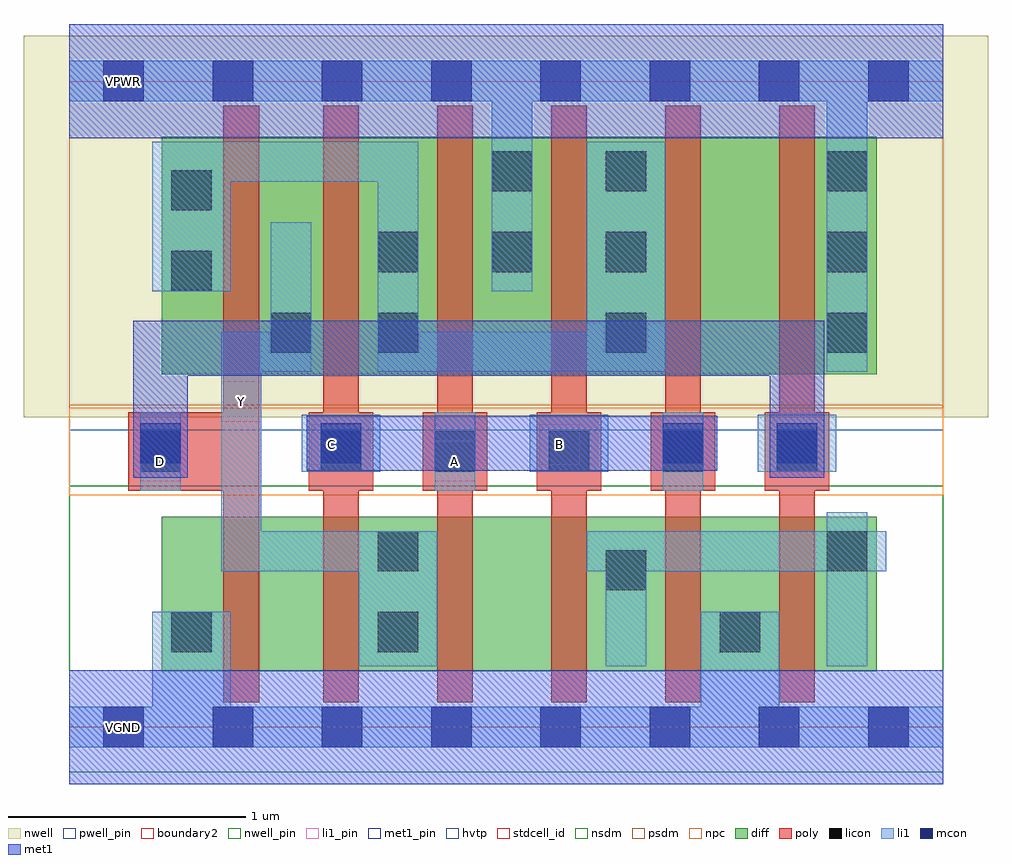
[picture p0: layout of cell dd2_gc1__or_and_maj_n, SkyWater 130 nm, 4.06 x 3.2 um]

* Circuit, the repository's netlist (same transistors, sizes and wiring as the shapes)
.subckt dd2_gc1__or_and_maj_n A B C D VGND VNB VPB VPWR Y
X0 Y C n1 VNB sky130_fd_pr__nfet_01v8 w=0.65 l=0.15
X1 n1 D VGND VNB sky130_fd_pr__nfet_01v8 w=0.65 l=0.15
X2 Y A n2 VNB sky130_fd_pr__nfet_01v8 w=0.65 l=0.15
X3 n2 B n3 VNB sky130_fd_pr__nfet_01v8 w=0.65 l=0.15
X4 n3 C VGND VNB sky130_fd_pr__nfet_01v8 w=0.65 l=0.15
X5 n3 D VGND VNB sky130_fd_pr__nfet_01v8 w=0.65 l=0.15
X6 Y C p1 VPB sky130_fd_pr__pfet_01v8_hvt w=1 l=0.15
X7 Y D p1 VPB sky130_fd_pr__pfet_01v8_hvt w=1 l=0.15
X8 p1 A VPWR VPB sky130_fd_pr__pfet_01v8_hvt w=1 l=0.15
X9 p1 B VPWR VPB sky130_fd_pr__pfet_01v8_hvt w=1 l=0.15
X10 p1 C p2 VPB sky130_fd_pr__pfet_01v8_hvt w=1 l=0.15
X11 p2 D VPWR VPB sky130_fd_pr__pfet_01v8_hvt w=1 l=0.15
.ends

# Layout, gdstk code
import gdstk
lib = gdstk.Library(unit=1e-6, precision=1e-09)
def R(c, l, rs):  # rectangles x0, y0, x1, y1
    for r in rs: c.add(gdstk.rectangle(r[:2], r[2:], *l))
def A(c, l, x, y, w, h, nx, ny, dx, dy):  # array of equal rectangles
    R(c, l, [(x+i*dx, y+j*dy, x+i*dx+w, y+j*dy+h) for i in range(nx) for j in range(ny)])
nwell_pin = (64, 16)
nwell = (64, 20)
diff = (65, 20)
poly = (66, 20)
licon = (66, 44)
li1_pin = (67, 16)
li1 = (67, 20)
mcon = (67, 44)
met1_pin = (68, 16)
met1 = (68, 20)
hvtp = (78, 44)
stdcell_id = (81, 4)
nsdm = (93, 44)
psdm = (94, 20)
npc = (95, 20)
pwell_pin = (122, 16)
boundary2 = (236, 0)

dd2_gc1__or_and_maj_n = lib.new_cell('dd2_gc1__or_and_maj_n')
R(dd2_gc1__or_and_maj_n, nwell_pin, [(0.145,2.635,0.315,2.805)])
R(dd2_gc1__or_and_maj_n, nwell, [(-0.19,1.305,3.87,2.91)])
R(dd2_gc1__or_and_maj_n, diff, [(0.39,0.235,3.4,0.885), (0.39,1.485,3.4,2.485)])
A(dd2_gc1__or_and_maj_n, poly, 1.07, 0.105, 0.15, 2.51, 5, 1, 0.48, 0)
A(dd2_gc1__or_and_maj_n, poly, 1.01, 0.995, 0.27, 0.33, 5, 1, 0.48, 0)
R(dd2_gc1__or_and_maj_n, poly, [(0.65,0.105,0.8,2.615), (0.25,0.995,0.8,1.325)])
A(dd2_gc1__or_and_maj_n, licon, 1.06, 1.075, 0.17, 0.17, 5, 1, 0.48, 0)
A(dd2_gc1__or_and_maj_n, licon, 3.19, 1.575, 0.17, 0.17, 1, 3, 0, 0.34)
A(dd2_gc1__or_and_maj_n, licon, 1.3, 1.915, 0.17, 0.17, 3, 1, 0.48, 0)
R(dd2_gc1__or_and_maj_n, licon, [(0.43,0.315,0.6,0.485), (1.3,0.315,1.47,0.485), (2.74,0.315,2.91,0.485), (2.26,0.575,2.43,0.745), (1.3,0.655,1.47,0.825), (3.19,0.655,3.36,0.825), (0.3,1.075,0.47,1.245), (0.85,1.575,1.02,1.745), (1.3,1.575,1.47,1.745), (2.26,1.575,2.43,1.745), (0.43,1.835,0.6,2.005), (0.43,2.175,0.6,2.345), (1.78,2.255,1.95,2.425), (2.26,2.255,2.43,2.425)])
R(dd2_gc1__or_and_maj_n, li1_pin, [(0.3,1.035,0.47,1.205), (1.54,1.035,1.71,1.205), (1.02,1.105,1.19,1.275), (1.98,1.105,2.15,1.275), (0.64,1.285,0.81,1.455)])
A(dd2_gc1__or_and_maj_n, li1, 0.98, 1.075, 0.33, 0.24, 3, 1, 0.96, 0)
R(dd2_gc1__or_and_maj_n, li1, [(0,-0.085,3.68,0.085), (0.35,-0.085,0.68,0.485), (2.66,-0.085,2.99,0.485), (1.22,0.255,1.55,0.825), (2.26,0.255,2.43,0.825), (3.19,0.255,3.36,0.905), (0.64,0.655,1.55,0.825), (2.18,0.655,3.44,0.825), (0.64,0.815,0.81,1.505), (0.3,0.995,0.47,1.325), (1.54,0.995,1.71,1.325), (2.5,0.995,2.67,1.325), (0.64,1.495,1.02,1.665), (0.85,1.495,1.02,2.125), (1.3,1.495,1.47,2.465), (1.3,1.495,2.51,1.665), (2.18,1.495,2.51,2.465), (3.19,1.495,3.36,2.805), (0.35,1.835,0.68,2.465), (1.78,1.835,1.95,2.805), (0.43,2.295,1.47,2.465), (0,2.635,3.68,2.805)])
A(dd2_gc1__or_and_maj_n, mcon, 0.145, -0.085, 0.17, 0.17, 8, 2, 0.46, 2.72)
R(dd2_gc1__or_and_maj_n, mcon, [(0.3,1.11,0.47,1.28), (1.06,1.11,1.23,1.28), (2.5,1.11,2.67,1.28), (2.98,1.11,3.15,1.28)])
R(dd2_gc1__or_and_maj_n, met1_pin, [(0.145,-0.085,0.315,0.085), (0.145,2.635,0.315,2.805)])
R(dd2_gc1__or_and_maj_n, met1, [(0,-0.24,3.68,0.24), (0.27,1.05,0.5,1.71), (2.95,1.05,3.18,1.71), (1,1.08,2.73,1.31), (0.27,1.48,3.18,1.71), (0,2.48,3.68,2.96)])
R(dd2_gc1__or_and_maj_n, hvtp, [(0,1.25,3.68,2.72)])
R(dd2_gc1__or_and_maj_n, stdcell_id, [(0,0,3.68,2.72)])
R(dd2_gc1__or_and_maj_n, nsdm, [(0,-0.19,3.68,1.015)])
R(dd2_gc1__or_and_maj_n, psdm, [(0,1.355,3.68,2.91)])
R(dd2_gc1__or_and_maj_n, npc, [(0,0.975,3.68,1.345)])
R(dd2_gc1__or_and_maj_n, pwell_pin, [(0.145,-0.085,0.315,0.085)])
R(dd2_gc1__or_and_maj_n, boundary2, [(0,0,3.68,2.72)])
dd2_gc1__or_and_maj_n.add(gdstk.Label('D', (0.385,1.12), layer=67, texttype=5))
dd2_gc1__or_and_maj_n.add(gdstk.Label('C', (1.105,1.19), layer=67, texttype=5))
dd2_gc1__or_and_maj_n.add(gdstk.Label('A', (1.625,1.12), layer=67, texttype=5))
dd2_gc1__or_and_maj_n.add(gdstk.Label('B', (2.065,1.19), layer=67, texttype=5))
dd2_gc1__or_and_maj_n.add(gdstk.Label('Y', (0.725,1.37), layer=67, texttype=5))
dd2_gc1__or_and_maj_n.add(gdstk.Label('VGND', (0.23,0), layer=68, texttype=5))
dd2_gc1__or_and_maj_n.add(gdstk.Label('VPWR', (0.23,2.72), layer=68, texttype=5))
dd2_gc1__or_and_maj_n.add(gdstk.Label('VPB', (0.23,2.72), layer=64, texttype=5))
dd2_gc1__or_and_maj_n.add(gdstk.Label('VNB', (0.23,0), layer=64, texttype=59))

lib.write_gds('dd2_gc1__or_and_maj_n.gds')
